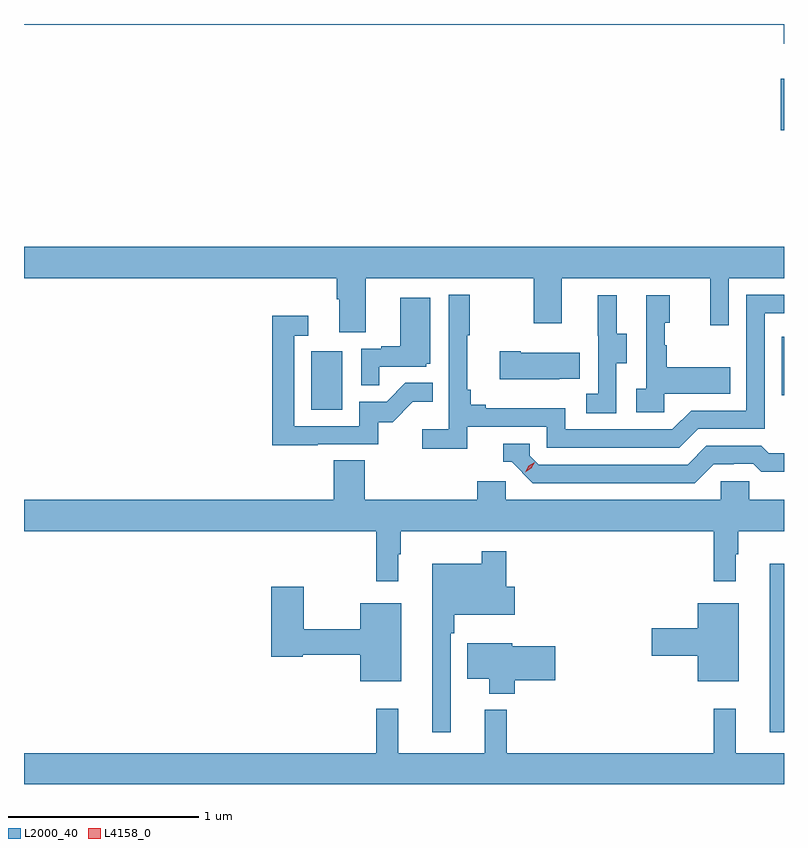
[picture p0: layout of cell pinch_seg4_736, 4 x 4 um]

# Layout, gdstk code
import gdstk
lib = gdstk.Library(unit=1e-6, precision=1e-09)
def R(c, l, rs):  # rectangles x0, y0, x1, y1
    for r in rs: c.add(gdstk.rectangle(r[:2], r[2:], *l))
def P(c, l, *ps):  # polygons
    for p in ps: c.add(gdstk.Polygon(p, *l))
L2000_40 = (2000, 40)
L4158_0 = (4158, 0)

pinch_seg4_736 = lib.new_cell('pinch_seg4_736')
R(pinch_seg4_736, L2000_40, [(877.91,817.074,877.986,817.96), (875.498,818.772,875.662,819.079), (877.974,818.847,877.986,819.156), (877.97,820.241,877.986,820.513)])
P(pinch_seg4_736, L2000_40, [(877.986,820.801),(873.986,820.801),(873.986,820.796),(877.985,820.796),(877.985,820.697),(877.986,820.697)],
  [(875.785,819.464),(876.67,819.464),(876.67,819.225),(876.817,819.225),(876.817,819.464),(877.598,819.464),(877.598,819.216),(877.695,819.216),(877.695,819.464),(877.986,819.464),(877.986,819.628),(873.986,819.628),(873.986,819.464),(875.633,819.464),(875.633,819.352),(875.645,819.352),(875.645,819.178),(875.785,819.178)],
  [(876.32,818.682),(876.738,818.682),(876.738,818.571),(877.435,818.571),(877.534,818.67),(877.884,818.67),(877.884,819.279),(877.986,819.279),(877.986,819.375),(877.788,819.375),(877.788,818.766),(877.497,818.766),(877.398,818.667),(876.834,818.667),(876.834,818.779),(876.415,818.779),(876.415,818.798),(876.338,818.798),(876.338,818.875),(876.319,818.875),(876.319,819.163),(876.331,819.163),(876.331,819.376),(876.222,819.376),(876.222,818.668),(876.081,818.668),(876.081,818.566),(876.32,818.566)],
  [(877.356,818.855),(877.703,818.855),(877.703,818.995),(877.369,818.995),(877.369,819.11),(877.359,819.11),(877.359,819.228),(877.384,819.228),(877.384,819.373),(877.26,819.373),(877.26,818.882),(877.209,818.882),(877.209,818.757),(877.356,818.757)],
  [(877.104,819.016),(877.159,819.016),(877.159,819.171),(877.105,819.171),(877.105,819.373),(877.007,819.373),(877.007,819.159),(877.008,819.159),(877.008,818.855),(876.945,818.855),(876.945,818.752),(877.104,818.752)],
  [(875.855,818.997),(876.102,818.997),(876.102,819.012),(876.124,819.012),(876.124,819.361),(875.966,819.361),(875.966,819.106),(875.867,819.106),(875.867,819.093),(875.76,819.093),(875.76,818.899),(875.855,818.899)],
  [(875.531,818.589),(875.85,818.589),(875.85,818.706),(875.926,818.706),(876.033,818.813),(876.137,818.813),(876.137,818.912),(875.993,818.912),(875.895,818.814),(875.751,818.814),(875.751,818.685),(875.409,818.685),(875.409,819.159),(875.482,819.159),(875.482,819.265),(875.293,819.265),(875.293,818.584),(875.531,818.584)],
  [(876.803,818.933),(876.911,818.933),(876.911,819.07),(876.601,819.07),(876.601,819.078),(876.489,819.078),(876.489,818.93),(876.803,818.93)],
  [(877.615,818.484),(877.722,818.484),(877.722,818.487),(877.825,818.487),(877.867,818.445),(877.986,818.445),(877.986,818.541),(877.906,818.541),(877.867,818.58),(877.578,818.58),(877.479,818.481),(876.696,818.481),(876.648,818.529),(876.648,818.592),(876.509,818.592),(876.509,818.496),(876.552,818.496),(876.663,818.385),(877.516,818.385)],
  [(875.956,818.009),(875.968,818.009),(875.968,818.132),(877.615,818.132),(877.615,817.869),(877.732,817.869),(877.732,818.009),(877.744,818.009),(877.744,818.132),(877.986,818.132),(877.986,818.296),(877.803,818.296),(877.803,818.394),(877.653,818.394),(877.653,818.296),(876.522,818.296),(876.522,818.394),(876.371,818.394),(876.371,818.296),(875.78,818.296),(875.78,818.504),(875.615,818.504),(875.615,818.296),(873.986,818.296),(873.986,818.132),(875.839,818.132),(875.839,817.869),(875.956,817.869)],
  [(876.231,817.595),(876.251,817.595),(876.251,817.691),(876.568,817.691),(876.568,817.839),(876.524,817.839),(876.524,818.026),(876.396,818.026),(876.396,817.96),(876.134,817.96),(876.134,817.074),(876.231,817.074)],
  [(875.971,817.753),(875.756,817.753),(875.756,817.616),(875.458,817.616),(875.458,817.84),(875.288,817.84),(875.288,817.472),(875.454,817.472),(875.454,817.48),(875.756,817.48),(875.756,817.343),(875.971,817.343)],
  [(877.747,817.753),(877.532,817.753),(877.532,817.622),(877.29,817.622),(877.29,817.475),(877.532,817.475),(877.532,817.343),(877.747,817.343)],
  [(876.569,817.348),(876.781,817.348),(876.781,817.526),(876.556,817.526),(876.556,817.543),(876.32,817.543),(876.32,817.355),(876.434,817.355),(876.434,817.277),(876.569,817.277)],
  [(877.986,816.964),(877.733,816.964),(877.733,817.198),(877.615,817.198),(877.615,816.964),(876.527,816.964),(876.527,817.192),(876.41,817.192),(876.41,816.964),(875.957,816.964),(875.957,817.198),(875.839,817.198),(875.839,816.964),(873.986,816.964),(873.986,816.801),(877.986,816.801)])
P(pinch_seg4_736, L4158_0, [(876.625,818.443),(876.625,818.443),(876.642,818.475),(876.673,818.494),(876.673,818.494),(876.673,818.494),(876.656,818.462),(876.625,818.443)])

lib.write_gds('pinch_seg4_736.gds')
